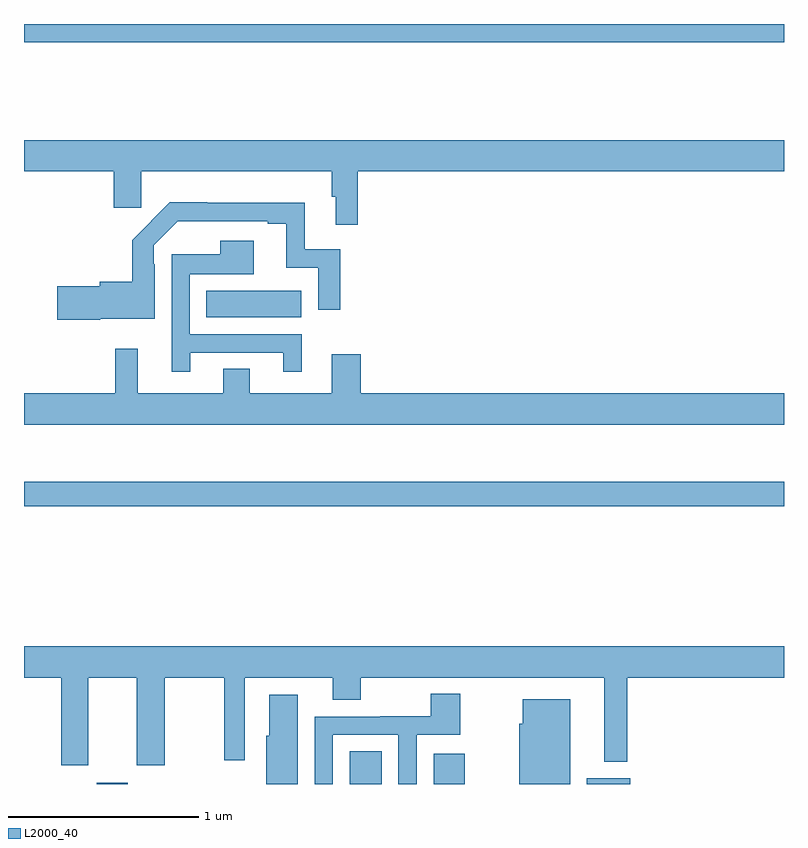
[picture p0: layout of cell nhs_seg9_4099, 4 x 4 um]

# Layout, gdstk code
import gdstk
lib = gdstk.Library(unit=1e-6, precision=1e-09)
def R(c, l, rs):  # rectangles x0, y0, x1, y1
    for r in rs: c.add(gdstk.rectangle(r[:2], r[2:], *l))
def P(c, l, *ps):  # polygons
    for p in ps: c.add(gdstk.Polygon(p, *l))
L2000_40 = (2000, 40)

nhs_seg9_4099 = lib.new_cell('nhs_seg9_4099')
R(nhs_seg9_4099, L2000_40, [(345.383,1222.5,345.547,1222.507), (346.715,1222.5,346.882,1222.673), (347.156,1222.5,347.32,1222.66), (347.963,1222.5,348.19,1222.531), (345,1223.962,349,1224.091), (345.958,1224.956,346.459,1225.096), (345,1226.404,349,1226.5)])
P(nhs_seg9_4099, L2000_40, [(346.757,1225.724),(349,1225.724),(349,1225.888),(345,1225.888),(345,1225.724),(345.472,1225.724),(345.472,1225.533),(345.617,1225.533),(345.617,1225.724),(346.621,1225.724),(346.621,1225.592),(346.64,1225.592),(346.64,1225.443),(346.757,1225.443)],
  [(345.402,1224.95),(345.687,1224.95),(345.687,1225.235),(345.684,1225.235),(345.684,1225.335),(345.81,1225.461),(346.283,1225.461),(346.283,1225.449),(346.379,1225.449),(346.379,1225.218),(346.548,1225.218),(346.548,1224.996),(346.664,1224.996),(346.664,1225.314),(346.477,1225.314),(346.477,1225.558),(345.965,1225.558),(345.965,1225.561),(345.766,1225.561),(345.569,1225.363),(345.569,1225.144),(345.398,1225.144),(345.398,1225.121),(345.174,1225.121),(345.174,1224.943),(345.402,1224.943)],
  [(345.874,1224.771),(346.364,1224.771),(346.364,1224.669),(346.462,1224.669),(346.462,1224.867),(345.873,1224.867),(345.873,1225.184),(346.21,1225.184),(346.21,1225.36),(346.034,1225.36),(346.034,1225.288),(345.777,1225.288),(345.777,1224.669),(345.874,1224.669)],
  [(349,1224.556),(346.772,1224.556),(346.772,1224.763),(346.619,1224.763),(346.619,1224.556),(346.189,1224.556),(346.189,1224.686),(346.049,1224.686),(346.049,1224.556),(345.599,1224.556),(345.599,1224.79),(345.481,1224.79),(345.481,1224.556),(345,1224.556),(345,1224.392),(349,1224.392)],
  [(345,1223.06),(345.197,1223.06),(345.197,1222.599),(345.337,1222.599),(345.337,1223.06),(345.593,1223.06),(345.593,1222.599),(345.741,1222.599),(345.741,1223.06),(346.053,1223.06),(346.053,1222.626),(346.162,1222.626),(346.162,1223.06),(346.625,1223.06),(346.625,1222.943),(346.773,1222.943),(346.773,1223.06),(348.053,1223.06),(348.053,1222.616),(348.175,1222.616),(348.175,1223.06),(349,1223.06),(349,1223.224),(345,1223.224)],
  [(346.626,1222.758),(346.971,1222.758),(346.971,1222.5),(347.067,1222.5),(347.067,1222.758),(347.295,1222.758),(347.295,1222.975),(347.14,1222.975),(347.14,1222.856),(346.874,1222.856),(346.874,1222.854),(346.53,1222.854),(346.53,1222.5),(346.626,1222.5)],
  [(346.441,1222.969),(346.292,1222.969),(346.292,1222.755),(346.274,1222.755),(346.274,1222.5),(346.441,1222.5)],
  [(347.875,1222.945),(347.624,1222.945),(347.624,1222.818),(347.606,1222.818),(347.606,1222.5),(347.875,1222.5)])

lib.write_gds('nhs_seg9_4099.gds')
